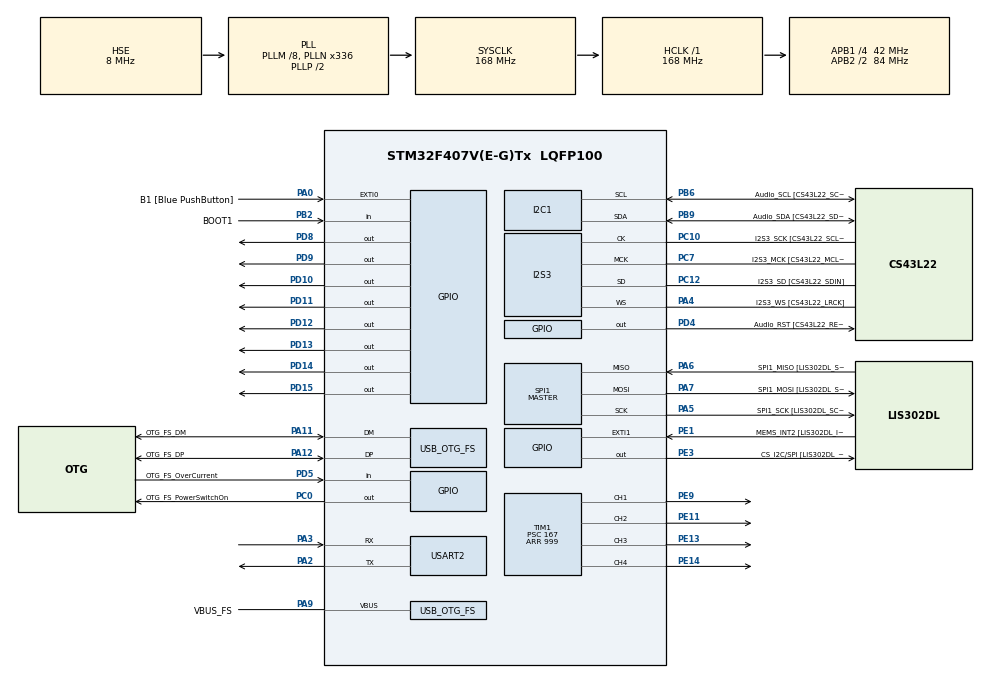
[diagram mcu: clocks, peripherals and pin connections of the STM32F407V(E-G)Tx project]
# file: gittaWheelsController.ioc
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I2S3.AudioFreq-Half_Duplex_Master=I2S_AUDIOFREQ_96K
I2S3.ErrorAudioFreq=-2.34 %
I2S3.ErrorAudioFreq-Half_Duplex_Master=0.8 %
I2S3.FullDuplexMode=I2S_FULLDUPLEXMODE_DISABLE
I2S3.Instance=SPI$Index
I2S3.RealAudioFreq=93.75 KHz
I2S3.RealAudioFreq-Half_Duplex_Master=96.774 KHz
I2S3.VirtualMode=I2S_MODE_MASTER
Mcu.Family=STM32F4
Mcu.Name=STM32F407V(E-G)Tx
Mcu.Package=LQFP100
NVIC.OTG_FS_IRQn=true\:0\:0\:false\:false\:true\:true\:true
NVIC.PriorityGroup=NVIC_PRIORITYGROUP_0
PA0-WKUP.GPIO_Label=B1 [Blue PushButton]
PA0-WKUP.GPIO_ModeDefaultEXTI=GPIO_MODE_EVT_RISING
PA0-WKUP.GPIO_PuPd=GPIO_NOPULL
PA0-WKUP.Signal=GPXTI0
PA10.GPIO_Label=OTG_FS_ID
PA10.GPIO_Mode=GPIO_MODE_AF_PP
PA10.GPIO_PuPd=GPIO_NOPULL
PA10.GPIO_Speed=GPIO_SPEED_FREQ_LOW
PA10.Signal=USB_OTG_FS_ID
PA11.GPIO_Label=OTG_FS_DM
PA11.GPIO_Mode=GPIO_MODE_AF_PP
PA11.GPIO_PuPd=GPIO_NOPULL
PA11.GPIO_Speed=GPIO_SPEED_FREQ_LOW
PA11.Mode=Host_Only
PA11.Signal=USB_OTG_FS_DM
PA12.GPIO_Label=OTG_FS_DP
PA12.GPIO_Mode=GPIO_MODE_AF_PP
PA12.GPIO_PuPd=GPIO_NOPULL
PA12.GPIO_Speed=GPIO_SPEED_FREQ_LOW
PA12.Mode=Host_Only
PA12.Signal=USB_OTG_FS_DP
PA13.GPIO_Label=SWDIO
PA13.Mode=Serial_Wire
PA13.Signal=SYS_JTMS-SWDIO
PA14.GPIO_Label=SWCLK
PA14.Mode=Serial_Wire
PA14.Signal=SYS_JTCK-SWCLK
PA2.Mode=Asynchronous
PA2.Signal=USART2_TX
PA3.Mode=Asynchronous
PA3.Signal=USART2_RX
PA4.GPIO_Label=I2S3_WS [CS43L22_LRCK]
PA4.GPIO_Mode=GPIO_MODE_AF_PP
PA4.GPIO_PuPd=GPIO_NOPULL
PA4.GPIO_Speed=GPIO_SPEED_FREQ_LOW
PA4.Mode=Half_Duplex_Master
PA4.Signal=I2S3_WS
PA5.GPIO_Label=SPI1_SCK [LIS302DL_SCL/SPC]
PA5.GPIO_Mode=GPIO_MODE_AF_PP
PA5.GPIO_PuPd=GPIO_NOPULL
PA5.GPIO_Speed=GPIO_SPEED_FREQ_LOW
PA5.Mode=Full_Duplex_Master
PA5.Signal=SPI1_SCK
PA6.GPIO_Label=SPI1_MISO [LIS302DL_SDO]
PA6.GPIO_Mode=GPIO_MODE_AF_PP
PA6.GPIO_PuPd=GPIO_NOPULL
PA6.GPIO_Speed=GPIO_SPEED_FREQ_LOW
PA6.Mode=Full_Duplex_Master
PA6.Signal=SPI1_MISO
PA7.GPIO_Label=SPI1_MOSI [LIS302DL_SDA/SDI/SDO]
PA7.GPIO_Mode=GPIO_MODE_AF_PP
PA7.GPIO_PuPd=GPIO_NOPULL
PA7.GPIO_Speed=GPIO_SPEED_FREQ_LOW
PA7.Mode=Full_Duplex_Master
PA7.Signal=SPI1_MOSI
PA9.GPIO_Label=VBUS_FS
PA9.GPIO_Mode=GPIO_MODE_INPUT
PA9.GPIO_PuPd=GPIO_NOPULL
PA9.Mode=Activate_VBUS
PA9.Signal=USB_OTG_FS_VBUS
PB10.GPIO_Label=CLK_IN [MP45DT02_CLK]
PB10.GPIO_Mode=GPIO_MODE_AF_PP
PB10.GPIO_PuPd=GPIO_NOPULL
PB10.GPIO_Speed=GPIO_SPEED_FREQ_LOW
PB10.Signal=I2S2_CK
PB2.GPIO_Label=BOOT1
PB2.GPIO_Mode=GPIO_MODE_INPUT
PB2.GPIO_PuPd=GPIO_NOPULL
PB2.Signal=GPIO_Input
PB3.GPIO_Label=SWO
PB3.Signal=SYS_JTDO-SWO
PB6.GPIO_Label=Audio_SCL [CS43L22_SCL]
PB6.GPIO_Mode=GPIO_MODE_AF_OD
PB6.GPIO_PuPd=GPIO_NOPULL
PB6.GPIO_Speed=GPIO_SPEED_FREQ_LOW
PB6.Mode=I2C
PB6.Signal=I2C1_SCL
PB9.GPIO_Label=Audio_SDA [CS43L22_SDA]
PB9.GPIO_Mode=GPIO_MODE_AF_OD
PB9.GPIO_PuPd=GPIO_NOPULL
PB9.GPIO_Speed=GPIO_SPEED_FREQ_LOW
PB9.Mode=I2C
PB9.Signal=I2C1_SDA
PC0.GPIO_Label=OTG_FS_PowerSwitchOn
PC0.GPIO_PuPd=GPIO_NOPULL
PC0.GPIO_Speed=GPIO_SPEED_FREQ_LOW
PC0.PinState=GPIO_PIN_SET
PC0.Signal=GPIO_Output
PC10.GPIO_Label=I2S3_SCK [CS43L22_SCLK]
PC10.GPIO_Mode=GPIO_MODE_AF_PP
PC10.GPIO_PuPd=GPIO_NOPULL
PC10.GPIO_Speed=GPIO_SPEED_FREQ_LOW
PC10.Mode=Half_Duplex_Master
PC10.Signal=I2S3_CK
PC12.GPIO_Label=I2S3_SD [CS43L22_SDIN]
PC12.GPIO_Mode=GPIO_MODE_AF_PP
PC12.GPIO_PuPd=GPIO_NOPULL
PC12.GPIO_Speed=GPIO_SPEED_FREQ_LOW
PC12.Mode=Half_Duplex_Master
PC12.Signal=I2S3_SD
PC14-OSC32_IN.GPIO_Label=PC14-OSC32_IN
PC14-OSC32_IN.Mode=LSE-External-Oscillator
PC14-OSC32_IN.Signal=RCC_OSC32_IN
PC15-OSC32_OUT.GPIO_Label=PC15-OSC32_OUT
PC15-OSC32_OUT.Mode=LSE-External-Oscillator
PC15-OSC32_OUT.Signal=RCC_OSC32_OUT
PC3.GPIO_Label=PDM_OUT [MP45DT02_DOUT]
PC3.GPIO_Mode=GPIO_MODE_AF_PP
PC3.GPIO_PuPd=GPIO_NOPULL
PC3.GPIO_Speed=GPIO_SPEED_FREQ_LOW
PC3.Signal=I2S2_SD
PC7.GPIO_Label=I2S3_MCK [CS43L22_MCLK]
PC7.GPIO_Mode=GPIO_MODE_AF_PP
PC7.GPIO_PuPd=GPIO_NOPULL
PC7.GPIO_Speed=GPIO_SPEED_FREQ_LOW
PC7.Mode=Master_Clock_Activated
PC7.Signal=I2S3_MCK
PD10.Signal=GPIO_Output
PD11.Signal=GPIO_Output
PD12.Signal=GPIO_Output
PD13.Signal=GPIO_Output
PD14.Signal=GPIO_Output
PD15.Signal=GPIO_Output
PD4.GPIO_Label=Audio_RST [CS43L22_RESET]
PD4.GPIO_PuPd=GPIO_NOPULL
PD4.GPIO_Speed=GPIO_SPEED_FREQ_LOW
PD4.Signal=GPIO_Output
PD5.GPIO_Label=OTG_FS_OverCurrent
PD5.GPIO_Mode=GPIO_MODE_INPUT
PD5.GPIO_PuPd=GPIO_NOPULL
PD5.Signal=GPIO_Input
PD8.Signal=GPIO_Output
PD9.Signal=GPIO_Output
PE1.GPIO_Label=MEMS_INT2 [LIS302DL_INT2]
PE1.GPIO_ModeDefaultEXTI=GPIO_MODE_EVT_RISING
PE1.GPIO_PuPd=GPIO_NOPULL
PE1.Signal=GPXTI1
PE11.Signal=S_TIM1_CH2
PE13.Signal=S_TIM1_CH3
PE14.Signal=S_TIM1_CH4
PE3.GPIO_Label=CS_I2C/SPI [LIS302DL_CS_I2C/SPI]
PE3.GPIO_PuPd=GPIO_NOPULL
PE3.GPIO_Speed=GPIO_SPEED_FREQ_LOW
PE3.Signal=GPIO_Output
PE9.Signal=S_TIM1_CH1
PH0-OSC_IN.GPIO_Label=PH0-OSC_IN
PH0-OSC_IN.Mode=HSE-External-Oscillator
PH0-OSC_IN.Signal=RCC_OSC_IN
PH1-OSC_OUT.GPIO_Label=PH1-OSC_OUT
PH1-OSC_OUT.Mode=HSE-External-Oscillator
PH1-OSC_OUT.Signal=RCC_OSC_OUT
ProjectManager.HeapSize=0x200
ProjectManager.StackSize=0x400
ProjectManager.TargetToolchain=TrueSTUDIO
RCC.48MHZClocksFreq_Value=48000000
RCC.AHBFreq_Value=168000000
RCC.APB1CLKDivider=RCC_HCLK_DIV4
RCC.APB1Freq_Value=42000000
RCC.APB1TimFreq_Value=84000000
RCC.APB2CLKDivider=RCC_HCLK_DIV2
RCC.APB2Freq_Value=84000000
RCC.APB2TimFreq_Value=168000000
RCC.CortexFreq_Value=168000000
RCC.HCLKFreq_Value=168000000
RCC.HSE_VALUE=8000000
RCC.HSI_VALUE=16000000
RCC.PLLM=8
RCC.PLLN=336
RCC.PLLQ=7
RCC.SYSCLKFreq_VALUE=168000000
RCC.SYSCLKSource=RCC_SYSCLKSOURCE_PLLCLK
RCC.VCOOutputFreq_Value=336000000
SH.S_TIM1_CH1.0=TIM1_CH1,PWM Generation1 CH1
SH.S_TIM1_CH2.0=TIM1_CH2,PWM Generation2 CH2
SH.S_TIM1_CH3.0=TIM1_CH3,PWM Generation3 CH3
SH.S_TIM1_CH4.0=TIM1_CH4,PWM Generation4 CH4
SPI1.BaudRatePrescaler-Full_Duplex_Master=SPI_BAUDRATEPRESCALER_2
SPI1.CalculateBaudRate-Full_Duplex_Master=42.0 MBits/s
SPI1.Direction=SPI_DIRECTION_2LINES
SPI1.Mode=SPI_MODE_MASTER
SPI1.Mode-Full_Duplex_Master=SPI_MODE_MASTER
SPI1.VirtualType=VM_MASTER
TIM1.Channel-PWM\ Generation1\ CH1=TIM_CHANNEL_1
TIM1.Channel-PWM\ Generation2\ CH2=TIM_CHANNEL_2
TIM1.Channel-PWM\ Generation3\ CH3=TIM_CHANNEL_3
TIM1.Channel-PWM\ Generation4\ CH4=TIM_CHANNEL_4
TIM1.Period=999
TIM1.Prescaler=167
USART2.VirtualMode=VM_ASYNC
USB_HOST.BSP.number=1
USB_HOST.USBH_HandleTypeDef-CDC_FS=hUsbHostFS
USB_HOST.VirtualModeFS=Cdc
USB_HOST0.BSP.STBoard=false
USB_HOST0.BSP.api=Unknown
USB_HOST0.BSP.i2caddr=0
USB_HOST0.BSP.i2creg=0
USB_HOST0.BSP.instance=PC0
USB_HOST0.BSP.ip=GPIO
USB_HOST0.BSP.mode=Output
USB_HOST0.BSP.name=Drive_VBUS_FS
USB_HOST0.BSP.solution=PC0
USB_OTG_FS.VirtualMode=Host_Only
USB_OTG_FS.phy_itface=HCD_PHY_EMBEDDED
VP_TIM1_VS_ClockSourceINT.Mode=Internal
VP_USB_HOST_VS_USB_HOST_CDC_FS.Mode=CDC_FS
board=STM32F407G-DISC1

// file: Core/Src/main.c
/* USER CODE BEGIN Header */
/**
  ******************************************************************************
  * @file           : main.c
  * @brief          : Main program body
  ******************************************************************************
  * @attention
  *
  * <h2><center>&copy; Copyright (c) 2020 STMicroelectronics.
  * All rights reserved.</center></h2>
  *
  * This software component is licensed by ST under Ultimate Liberty license
  * SLA0044, the "License"; You may not use this file except in compliance with
  * the License. You may obtain a copy of the License at:
  *                             www.st.com/SLA0044
  *
  ******************************************************************************
  */
/* USER CODE END Header */
#include "main.h"
#include "i2c.h"
#include "i2s.h"
#include "spi.h"
#include "tim.h"
#include "usart.h"
#include "usb_host.h"
#include "gpio.h"

/* USER CODE BEGIN PM */
  int MOTOR_FL = 0;
  int MOTOR_FR = 1;
  int MOTOR_RL = 2;
  int MOTOR_RR = 3;
/* USER CODE END PM */

void SystemClock_Config(void);
void MX_USB_HOST_Process(void);

/* USER CODE BEGIN 0 */
void motorControl(double vel1, double vel2, double vel3, double vel4);
void actControl(int type, int pwm1, int pwm2, int pwm3, int pwm4);
/* USER CODE END 0 */

int main(void)
{

  /* MCU Configuration--------------------------------------------------------*/

  /* Reset of all peripherals, Initializes the Flash interface and the Systick. */

  HAL_Init();

  /* USER CODE BEGIN Init */
  union {
  	  double v;
  	  uint8_t bytes[sizeof(double)];
  } v[4];
  int cnt = 0;
  uint8_t byte;

  /* USER CODE END Init */

  /* Configure the system clock */
  SystemClock_Config();

  /* Initialize all configured peripherals */
  MX_GPIO_Init();

  MX_I2C1_Init();
  MX_I2S3_Init();
  MX_SPI1_Init();
  MX_TIM1_Init();
  MX_USART2_UART_Init();
  MX_USB_HOST_Init();
  /* USER CODE BEGIN 2 */
  HAL_TIM_PWM_Start(&htim1, TIM_CHANNEL_1);
  HAL_TIM_PWM_Start(&htim1, TIM_CHANNEL_2);
  HAL_TIM_PWM_Start(&htim1, TIM_CHANNEL_3);
  HAL_TIM_PWM_Start(&htim1, TIM_CHANNEL_4);
  HAL_GPIO_WritePin(GPIOD, GPIO_PIN_8, RESET);
  HAL_GPIO_WritePin(GPIOD, GPIO_PIN_9, RESET);
  HAL_GPIO_WritePin(GPIOD, GPIO_PIN_10, RESET);
  HAL_GPIO_WritePin(GPIOD, GPIO_PIN_11, RESET);
  HAL_GPIO_WritePin(GPIOD, GPIO_PIN_12, RESET);
  HAL_GPIO_WritePin(GPIOD, GPIO_PIN_13, RESET);
  HAL_GPIO_WritePin(GPIOD, GPIO_PIN_14, RESET);
  HAL_GPIO_WritePin(GPIOD, GPIO_PIN_15, RESET);

  while (1)
  {

    /* USER CODE END WHILE */
    MX_USB_HOST_Process();

   /* USER CODE BEGIN 3 */
    cnt = 0;
	while(1)
	{
		if (HAL_UART_Receive(&huart2, &byte, 1, 100) == HAL_OK)
		{
			v[(int)(cnt/8)].bytes[cnt%8] = byte;
			cnt++;
			HAL_UART_Transmit(&huart2, &byte, 1, 100);
			if(cnt>=32)
			{
				cnt = 0;
				//motor control
				motorControl(v[0].v, v[1].v, v[2].v, v[3].v);
			}
		}
	}
 }
  /* USER CODE END 3 */
}

void SystemClock_Config(void)
{
  RCC_OscInitTypeDef RCC_OscInitStruct = {0};
  RCC_ClkInitTypeDef RCC_ClkInitStruct = {0};
  RCC_PeriphCLKInitTypeDef PeriphClkInitStruct = {0};

  /** Configure the main internal regulator output voltage
  */
  __HAL_RCC_PWR_CLK_ENABLE();
  __HAL_PWR_VOLTAGESCALING_CONFIG(PWR_REGULATOR_VOLTAGE_SCALE1);
  /** Initializes the RCC Oscillators according to the specified parameters
  * in the RCC_OscInitTypeDef structure.
  */
  RCC_OscInitStruct.OscillatorType = RCC_OSCILLATORTYPE_HSE;
  RCC_OscInitStruct.HSEState = RCC_HSE_ON;
  RCC_OscInitStruct.PLL.PLLState = RCC_PLL_ON;
  RCC_OscInitStruct.PLL.PLLSource = RCC_PLLSOURCE_HSE;
  RCC_OscInitStruct.PLL.PLLM = 8;
  RCC_OscInitStruct.PLL.PLLN = 336;
  RCC_OscInitStruct.PLL.PLLP = RCC_PLLP_DIV2;
  RCC_OscInitStruct.PLL.PLLQ = 7;
  if (HAL_RCC_OscConfig(&RCC_OscInitStruct) != HAL_OK)
  {
    Error_Handler();
  }
  /** Initializes the CPU, AHB and APB buses clocks
  */
  RCC_ClkInitStruct.ClockType = RCC_CLOCKTYPE_HCLK|RCC_CLOCKTYPE_SYSCLK|
		  RCC_CLOCKTYPE_PCLK1|RCC_CLOCKTYPE_PCLK2;
  RCC_ClkInitStruct.SYSCLKSource = RCC_SYSCLKSOURCE_PLLCLK;
  RCC_ClkInitStruct.AHBCLKDivider = RCC_SYSCLK_DIV1;
  RCC_ClkInitStruct.APB1CLKDivider = RCC_HCLK_DIV4;
  RCC_ClkInitStruct.APB2CLKDivider = RCC_HCLK_DIV2;

  if (HAL_RCC_ClockConfig(&RCC_ClkInitStruct, FLASH_LATENCY_5) != HAL_OK)
  {
    Error_Handler();
  }
  PeriphClkInitStruct.PeriphClockSelection = RCC_PERIPHCLK_I2S;
  PeriphClkInitStruct.PLLI2S.PLLI2SN = 192;
  PeriphClkInitStruct.PLLI2S.PLLI2SR = 2;
  if (HAL_RCCEx_PeriphCLKConfig(&PeriphClkInitStruct) != HAL_OK)
  {
    Error_Handler();
  }
}

/* USER CODE BEGIN 4 */
void controlRotateDirection(int motorNum, double vel)
{
	switch(motorNum)
	{
	case 0:
		if(vel > 0.0){
			HAL_GPIO_WritePin(GPIOD, GPIO_PIN_8, SET);
			HAL_GPIO_WritePin(GPIOD, GPIO_PIN_9, RESET);
		}
		else{
				HAL_GPIO_WritePin(GPIOD, GPIO_PIN_8, RESET);
				HAL_GPIO_WritePin(GPIOD, GPIO_PIN_9, SET);
		}
		break;
	case 1:
			if(vel > 0.0){
				HAL_GPIO_WritePin(GPIOD, GPIO_PIN_10, RESET);
				HAL_GPIO_WritePin(GPIOD, GPIO_PIN_11, SET);
			}
			else{
					HAL_GPIO_WritePin(GPIOD, GPIO_PIN_10, SET);
					HAL_GPIO_WritePin(GPIOD, GPIO_PIN_11, RESET);
			}
			break;
	case 2:
			if(vel > 0.0){
				HAL_GPIO_WritePin(GPIOD, GPIO_PIN_12, SET);
				HAL_GPIO_WritePin(GPIOD, GPIO_PIN_13, RESET);
			}
			else{
					HAL_GPIO_WritePin(GPIOD, GPIO_PIN_12, RESET);
					HAL_GPIO_WritePin(GPIOD, GPIO_PIN_13, SET);
			}
			break;

	case 3:
			if(vel > 0.0){
				HAL_GPIO_WritePin(GPIOD, GPIO_PIN_14, RESET);
				HAL_GPIO_WritePin(GPIOD, GPIO_PIN_15, SET);
			}
			else{
					HAL_GPIO_WritePin(GPIOD, GPIO_PIN_14, SET);
					HAL_GPIO_WritePin(GPIOD, GPIO_PIN_15, RESET);
			}
			break;
	}
}

void motorControl(double vel1, double vel2, double vel3, double vel4)
{
	//double abs1 = abs(vel1) > abs(vel2) ? abs(vel1) : abs(vel2);
	//double abs2 = abs(vel3) > abs(vel4) ? abs(vel3) : abs(vel4);
	//double abs_max = abs1 > abs2 ? abs1 : abs2;
	if(vel1 == 0.0)
	{
		HAL_GPIO_WritePin(GPIOD, GPIO_PIN_8, RESET);
		HAL_GPIO_WritePin(GPIOD, GPIO_PIN_9, RESET);
	}
	else{
		controlRotateDirection(0, vel1);
		if(vel1 <0.0){
			vel1 = vel1* -1;
		}
		int pwm = (vel1 / 8.0) * 500.0;
		TIM1->CCR1 = pwm;
	}
	if(vel2 == 0.0)
	{
		HAL_GPIO_WritePin(GPIOD, GPIO_PIN_10, RESET);
		HAL_GPIO_WritePin(GPIOD, GPIO_PIN_11, RESET);
	}
	else{
		controlRotateDirection(1, vel2);
		if(vel2<0.0){
			vel2 = vel2* -1;
		}
		int pwm = (vel2 / 8.0) * 500.0;
		TIM1->CCR2 = pwm;
	}
	if(vel3 == 0.0)
	{
		HAL_GPIO_WritePin(GPIOD, GPIO_PIN_12, RESET);
		HAL_GPIO_WritePin(GPIOD, GPIO_PIN_13, RESET);
	}
	else{
		controlRotateDirection(2, vel3);
		if(vel3<0.0){
			vel3 = vel3 * -1;
		}
		int pwm = (vel3 / 8.0) * 500.0;
		TIM1->CCR3 = pwm;
	}
	if(vel4 == 0.0)
	{
		HAL_GPIO_WritePin(GPIOD, GPIO_PIN_14, RESET);
		HAL_GPIO_WritePin(GPIOD, GPIO_PIN_15, RESET);
	}
	else{
		controlRotateDirection(3, vel4);
		if(vel4<0.0){
			vel4 =vel4 * -1;
		}
		int pwm = (vel4 / 8.0) * 500.0;
		TIM1->CCR4 = pwm;
	}
}

void actControl(int type, int pwm1, int pwm2, int pwm3, int pwm4)
{
	switch(type)
	{
		case 0:  //forward
			HAL_GPIO_WritePin(GPIOD, GPIO_PIN_8, SET);
			HAL_GPIO_WritePin(GPIOD, GPIO_PIN_9, RESET);
			HAL_GPIO_WritePin(GPIOD, GPIO_PIN_10, RESET);
			HAL_GPIO_WritePin(GPIOD, GPIO_PIN_11, SET);
			HAL_GPIO_WritePin(GPIOD, GPIO_PIN_12, SET);
			HAL_GPIO_WritePin(GPIOD, GPIO_PIN_13, RESET);
			HAL_GPIO_WritePin(GPIOD, GPIO_PIN_14, RESET);
			HAL_GPIO_WritePin(GPIOD, GPIO_PIN_15, SET);
			TIM1->CCR1 = pwm1;//543;
			TIM1->CCR2 = pwm2;//512;
			TIM1->CCR3 = pwm3;//537;
			TIM1->CCR4 = pwm4;//512;
			break;
		case 1:  //backward
			HAL_GPIO_WritePin(GPIOD, GPIO_PIN_8, RESET);
			HAL_GPIO_WritePin(GPIOD, GPIO_PIN_9, SET);
			HAL_GPIO_WritePin(GPIOD, GPIO_PIN_10, SET);
			HAL_GPIO_WritePin(GPIOD, GPIO_PIN_11, RESET);
			HAL_GPIO_WritePin(GPIOD, GPIO_PIN_12, RESET);
			HAL_GPIO_WritePin(GPIOD, GPIO_PIN_13, SET);
			HAL_GPIO_WritePin(GPIOD, GPIO_PIN_14, SET);
			HAL_GPIO_WritePin(GPIOD, GPIO_PIN_15, RESET);
			TIM1->CCR1 = pwm1;//543;
			TIM1->CCR2 = pwm2;//512;
			TIM1->CCR3 = pwm3;//537;
			TIM1->CCR4 = pwm4;//512;
			break;
		case 2:  //clockwise angular -
			HAL_GPIO_WritePin(GPIOD, GPIO_PIN_8, SET);
			HAL_GPIO_WritePin(GPIOD, GPIO_PIN_9, RESET);
			HAL_GPIO_WritePin(GPIOD, GPIO_PIN_10, SET);
			HAL_GPIO_WritePin(GPIOD, GPIO_PIN_11, RESET);
			HAL_GPIO_WritePin(GPIOD, GPIO_PIN_12, SET);
			HAL_GPIO_WritePin(GPIOD, GPIO_PIN_13, RESET);
			HAL_GPIO_WritePin(GPIOD, GPIO_PIN_14, SET);
			HAL_GPIO_WritePin(GPIOD, GPIO_PIN_15, RESET);
			TIM1->CCR1 = pwm1;//543;
			TIM1->CCR2 = pwm2;//512;
			TIM1->CCR3 = pwm3;//537;
			TIM1->CCR4 = pwm4;//512;
			break;
		case 3:  //counterclockwise angular +
			HAL_GPIO_WritePin(GPIOD, GPIO_PIN_8, RESET);
			HAL_GPIO_WritePin(GPIOD, GPIO_PIN_9, SET);
			HAL_GPIO_WritePin(GPIOD, GPIO_PIN_10, RESET);
			HAL_GPIO_WritePin(GPIOD, GPIO_PIN_11, SET);
			HAL_GPIO_WritePin(GPIOD, GPIO_PIN_12, RESET);
			HAL_GPIO_WritePin(GPIOD, GPIO_PIN_13, SET);
			HAL_GPIO_WritePin(GPIOD, GPIO_PIN_14, RESET);
			HAL_GPIO_WritePin(GPIOD, GPIO_PIN_15, SET);
			TIM1->CCR1 = pwm1;//543;
			TIM1->CCR2 = pwm2;//512;
			TIM1->CCR3 = pwm3;//537;
			TIM1->CCR4 = pwm4;//512;
			break;
		case 4:  //stop
			HAL_GPIO_WritePin(GPIOD, GPIO_PIN_8, RESET);
			HAL_GPIO_WritePin(GPIOD, GPIO_PIN_9, RESET);
			HAL_GPIO_WritePin(GPIOD, GPIO_PIN_10, RESET);
			HAL_GPIO_WritePin(GPIOD, GPIO_PIN_11, RESET);
			HAL_GPIO_WritePin(GPIOD, GPIO_PIN_12, RESET);
			HAL_GPIO_WritePin(GPIOD, GPIO_PIN_13, RESET);
			HAL_GPIO_WritePin(GPIOD, GPIO_PIN_14, RESET);
			HAL_GPIO_WritePin(GPIOD, GPIO_PIN_15, RESET);
	}
}
/* USER CODE END 4 */

void Error_Handler(void)
{
}

/************************ (C) COPYRIGHT STMicroelectronics *****END OF FILE****/
